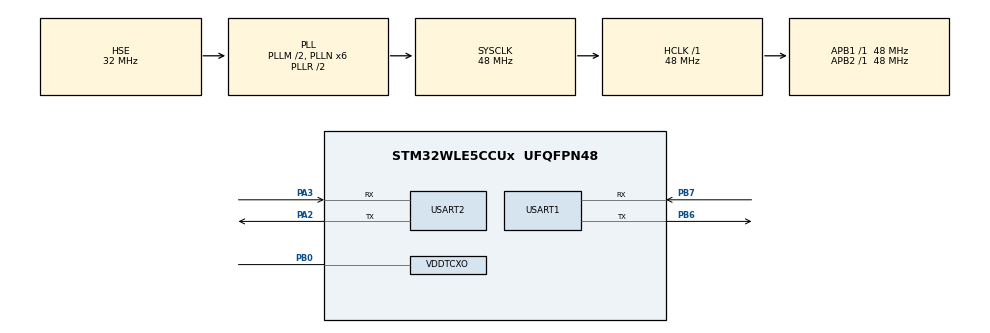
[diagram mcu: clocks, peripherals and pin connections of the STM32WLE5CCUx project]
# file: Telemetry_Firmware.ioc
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Dma.Request0=USART1_RX
Dma.Request1=USART1_TX
Dma.USART1_RX.0.Direction=DMA_PERIPH_TO_MEMORY
Dma.USART1_RX.0.EventEnable=DISABLE
Dma.USART1_RX.0.Instance=DMA1_Channel1
Dma.USART1_RX.0.MemDataAlignment=DMA_MDATAALIGN_BYTE
Dma.USART1_RX.0.MemInc=DMA_MINC_ENABLE
Dma.USART1_RX.0.Mode=DMA_CIRCULAR
Dma.USART1_RX.0.PeriphDataAlignment=DMA_PDATAALIGN_BYTE
Dma.USART1_RX.0.PeriphInc=DMA_PINC_DISABLE
Dma.USART1_RX.0.Polarity=HAL_DMAMUX_REQ_GEN_RISING
Dma.USART1_RX.0.Priority=DMA_PRIORITY_HIGH
Dma.USART1_RX.0.RequestNumber=1
Dma.USART1_RX.0.SignalID=NONE
Dma.USART1_RX.0.SyncEnable=DISABLE
Dma.USART1_RX.0.SyncPolarity=HAL_DMAMUX_SYNC_NO_EVENT
Dma.USART1_RX.0.SyncRequestNumber=1
Dma.USART1_RX.0.SyncSignalID=NONE
Dma.USART1_TX.1.Direction=DMA_MEMORY_TO_PERIPH
Dma.USART1_TX.1.EventEnable=DISABLE
Dma.USART1_TX.1.Instance=DMA1_Channel2
Dma.USART1_TX.1.MemDataAlignment=DMA_MDATAALIGN_BYTE
Dma.USART1_TX.1.MemInc=DMA_MINC_ENABLE
Dma.USART1_TX.1.Mode=DMA_NORMAL
Dma.USART1_TX.1.PeriphDataAlignment=DMA_PDATAALIGN_BYTE
Dma.USART1_TX.1.PeriphInc=DMA_PINC_DISABLE
Dma.USART1_TX.1.Polarity=HAL_DMAMUX_REQ_GEN_RISING
Dma.USART1_TX.1.Priority=DMA_PRIORITY_HIGH
Dma.USART1_TX.1.RequestNumber=1
Dma.USART1_TX.1.SignalID=NONE
Dma.USART1_TX.1.SyncEnable=DISABLE
Dma.USART1_TX.1.SyncPolarity=HAL_DMAMUX_SYNC_NO_EVENT
Dma.USART1_TX.1.SyncRequestNumber=1
Dma.USART1_TX.1.SyncSignalID=NONE
Mcu.Family=STM32WL
Mcu.Name=STM32WLE5CCUx
Mcu.Package=UFQFPN48
NVIC.DMA1_Channel1_IRQn=true\:0\:0\:false\:false\:true\:false\:true\:true
NVIC.DMA1_Channel2_IRQn=true\:0\:0\:false\:false\:true\:false\:true\:true
NVIC.PriorityGroup=NVIC_PRIORITYGROUP_4
NVIC.SUBGHZ_Radio_IRQn=true\:0\:0\:false\:false\:true\:true\:true\:true
NVIC.USART1_IRQn=true\:0\:0\:false\:false\:true\:true\:true\:true
NVIC.USART2_IRQn=true\:0\:0\:false\:false\:true\:true\:true\:true
OSC_IN.Mode=HSE-TCXO
OSC_IN.Signal=RCC_OSC_IN
PA2.Mode=Asynchronous
PA2.Signal=USART2_TX
PA3.Mode=Asynchronous
PA3.Signal=USART2_RX
PB0-VDD_TCXO.Mode=HSE-TCXO
PB0-VDD_TCXO.Signal=VDDTCXO
PB6.Mode=Asynchronous
PB6.Signal=USART1_TX
PB7.Mode=Asynchronous
PB7.Signal=USART1_RX
PC14-OSC32_IN.Mode=LSE-External-Oscillator
PC14-OSC32_IN.Signal=RCC_OSC32_IN
PC15-OSC32_OUT.Mode=LSE-External-Oscillator
PC15-OSC32_OUT.Signal=RCC_OSC32_OUT
ProjectManager.HeapSize=0x200
ProjectManager.StackSize=0x400
ProjectManager.TargetToolchain=STM32CubeIDE
RCC.AHBFreq_Value=48000000
RCC.APB1Freq_Value=48000000
RCC.APB1TimFreq_Value=48000000
RCC.APB2Freq_Value=48000000
RCC.APB2TimFreq_Value=48000000
RCC.APB3Freq_Value=48000000
RCC.CortexFreq_Value=48000000
RCC.HCLKFreq_Value=48000000
RCC.HSE_VALUE=32000000
RCC.HSI_VALUE=16000000
RCC.I2C1CLockSelection=RCC_I2C1CLKSOURCE_HSI
RCC.I2C2CLockSelection=RCC_I2C2CLKSOURCE_HSI
RCC.LPTIM1CLockSelection=RCC_LPTIM1CLKSOURCE_HSI
RCC.LSE_VALUE=32768
RCC.MSIClockRange=RCC_MSIRANGE_10
RCC.PLLM=RCC_PLLM_DIV2
RCC.PLLN=6
RCC.PLLSourceVirtual=RCC_PLLSOURCE_HSE
RCC.RTCClockSelection=RCC_RTCCLKSOURCE_LSE
RCC.SYSCLKFreq_VALUE=48000000
RCC.SYSCLKSource=RCC_SYSCLKSOURCE_PLLCLK
RCC.VCOOutputFreq_Value=96000000
TIM1.Period=0xffff
TIM1.Prescaler=47
TIM1.TIM_MasterOutputTrigger=TIM_TRGO_UPDATE
TIM1.TIM_MasterSlaveMode=TIM_MASTERSLAVEMODE_DISABLE
TIM2.Period=0xffffffff
USART1.VirtualMode-Asynchronous=VM_ASYNC
USART2.VirtualMode-Asynchronous=VM_ASYNC
VP_SUBGHZ_VS_SUBGHZ.Mode=SUBGHZ_Activate
VP_TIM1_VS_ClockSourceINT.Mode=Internal
VP_TIM2_VS_ClockSourceITR.Mode=TriggerSource_ITR0
VP_TIM2_VS_ControllerModeClock.Mode=Clock Mode
board=custom

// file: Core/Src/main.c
/* USER CODE BEGIN Header */
/**
  ******************************************************************************
  * @file           : main.c
  * @brief          : Main program body
  ******************************************************************************
  * @attention
  *
  * Copyright (c) 2023 STMicroelectronics.
  * All rights reserved.
  *
  * This software is licensed under terms that can be found in the LICENSE file
  * in the root directory of this software component.
  * If no LICENSE file comes with this software, it is provided AS-IS.
  *
  ******************************************************************************
  */
/* USER CODE END Header */
#include "main.h"

/* USER CODE BEGIN Includes */
#include "peripherals/gpio/gpio.h"
#include "psp_timer.h"
#include "board.h"
#include "radio_driver.h"
#include "subghz_phy_app.h"
#include "telemetry_program.h"
#include <errno.h>
#include <sys/unistd.h>
/* USER CODE END Includes */

SUBGHZ_HandleTypeDef hsubghz;

TIM_HandleTypeDef htim1;
TIM_HandleTypeDef htim2;

UART_HandleTypeDef huart1;
UART_HandleTypeDef huart2;
DMA_HandleTypeDef hdma_usart1_rx;
DMA_HandleTypeDef hdma_usart1_tx;

void SystemClock_Config(void);
static void MX_GPIO_Init(void);
/* USER CODE BEGIN PFP */
#define PUTCHAR_PROTOTYPE int __io_putchar(int ch)
/* USER CODE END PFP */

int main(void)
{

  /* MCU Configuration--------------------------------------------------------*/

  /* Reset of all peripherals, Initializes the Flash interface and the Systick. */
  HAL_Init();

  /* Configure the system clock */
  SystemClock_Config();

  /* USER CODE BEGIN SysInit */
  //SUBGRF_SetTcxoMode(TCXO_CTRL_3_3V, 100);
  SubghzApp_Init();
  HAL_Delay(100);
  /* USER CODE END SysInit */

  /* Initialize all configured peripherals */
  MX_GPIO_Init();
  MX_DMA_Init();
  MX_TIM1_Init();
  MX_TIM2_Init();
  MX_USART2_UART_Init();
  MX_USART1_UART_Init();
  /* USER CODE BEGIN 2 */
  init_timers();
  gpio_write(PIN_PA0, GPIO_HIGH);
  DELAY(500);
  gpio_write(PIN_PA0, GPIO_LOW);
  DELAY(500);
  telemetry_program();
  /* USER CODE END 2 */

  /* Infinite loop */
  while (1)
  {

    /* USER CODE BEGIN 3 */
  }
  return 0;
  /* USER CODE END 3 */
}

void SystemClock_Config(void)
{
  RCC_OscInitTypeDef RCC_OscInitStruct = {0};
  RCC_ClkInitTypeDef RCC_ClkInitStruct = {0};

  /** Configure the main internal regulator output voltage
  */
  __HAL_PWR_VOLTAGESCALING_CONFIG(PWR_REGULATOR_VOLTAGE_SCALE1);

  /** Initializes the CPU, AHB and APB buses clocks
  */
  RCC_OscInitStruct.OscillatorType = RCC_OSCILLATORTYPE_HSE;
  RCC_OscInitStruct.HSEState = RCC_HSE_BYPASS_PWR;
  RCC_OscInitStruct.HSEDiv = RCC_HSE_DIV1;
  RCC_OscInitStruct.PLL.PLLState = RCC_PLL_ON;
  RCC_OscInitStruct.PLL.PLLSource = RCC_PLLSOURCE_HSE;
  RCC_OscInitStruct.PLL.PLLM = RCC_PLLM_DIV2;
  RCC_OscInitStruct.PLL.PLLN = 6;
  RCC_OscInitStruct.PLL.PLLP = RCC_PLLP_DIV2;
  RCC_OscInitStruct.PLL.PLLR = RCC_PLLR_DIV2;
  RCC_OscInitStruct.PLL.PLLQ = RCC_PLLQ_DIV2;
  if (HAL_RCC_OscConfig(&RCC_OscInitStruct) != HAL_OK)
  {
    Error_Handler();
  }

  /** Configure the SYSCLKSource, HCLK, PCLK1 and PCLK2 clocks dividers
  */
  RCC_ClkInitStruct.ClockType = RCC_CLOCKTYPE_HCLK3|RCC_CLOCKTYPE_HCLK
                              |RCC_CLOCKTYPE_SYSCLK|RCC_CLOCKTYPE_PCLK1
                              |RCC_CLOCKTYPE_PCLK2;
  RCC_ClkInitStruct.SYSCLKSource = RCC_SYSCLKSOURCE_PLLCLK;
  RCC_ClkInitStruct.AHBCLKDivider = RCC_SYSCLK_DIV1;
  RCC_ClkInitStruct.APB1CLKDivider = RCC_HCLK_DIV1;
  RCC_ClkInitStruct.APB2CLKDivider = RCC_HCLK_DIV1;
  RCC_ClkInitStruct.AHBCLK3Divider = RCC_SYSCLK_DIV1;

  if (HAL_RCC_ClockConfig(&RCC_ClkInitStruct, FLASH_LATENCY_2) != HAL_OK)
  {
    Error_Handler();
  }
}

void MX_SUBGHZ_Init(void)
{

  hsubghz.Init.BaudratePrescaler = SUBGHZSPI_BAUDRATEPRESCALER_8;
  if (HAL_SUBGHZ_Init(&hsubghz) != HAL_OK)
  {
    Error_Handler();
  }

}

void MX_TIM1_Init(void)
{

  TIM_ClockConfigTypeDef sClockSourceConfig = {0};
  TIM_MasterConfigTypeDef sMasterConfig = {0};

  htim1.Instance = TIM1;
  htim1.Init.Prescaler = 47;
  htim1.Init.CounterMode = TIM_COUNTERMODE_UP;
  htim1.Init.Period = 0xffff;
  htim1.Init.ClockDivision = TIM_CLOCKDIVISION_DIV1;
  htim1.Init.RepetitionCounter = 0;
  htim1.Init.AutoReloadPreload = TIM_AUTORELOAD_PRELOAD_DISABLE;
  if (HAL_TIM_Base_Init(&htim1) != HAL_OK)
  {
    Error_Handler();
  }
  sClockSourceConfig.ClockSource = TIM_CLOCKSOURCE_INTERNAL;
  if (HAL_TIM_ConfigClockSource(&htim1, &sClockSourceConfig) != HAL_OK)
  {
    Error_Handler();
  }
  sMasterConfig.MasterOutputTrigger = TIM_TRGO_UPDATE;
  sMasterConfig.MasterOutputTrigger2 = TIM_TRGO2_RESET;
  sMasterConfig.MasterSlaveMode = TIM_MASTERSLAVEMODE_DISABLE;
  if (HAL_TIMEx_MasterConfigSynchronization(&htim1, &sMasterConfig) != HAL_OK)
  {
    Error_Handler();
  }

}

void MX_TIM2_Init(void)
{

  TIM_SlaveConfigTypeDef sSlaveConfig = {0};
  TIM_MasterConfigTypeDef sMasterConfig = {0};

  htim2.Instance = TIM2;
  htim2.Init.Prescaler = 0;
  htim2.Init.CounterMode = TIM_COUNTERMODE_UP;
  htim2.Init.Period = 0xffffffff;
  htim2.Init.ClockDivision = TIM_CLOCKDIVISION_DIV1;
  htim2.Init.AutoReloadPreload = TIM_AUTORELOAD_PRELOAD_DISABLE;
  if (HAL_TIM_Base_Init(&htim2) != HAL_OK)
  {
    Error_Handler();
  }
  sSlaveConfig.SlaveMode = TIM_SLAVEMODE_EXTERNAL1;
  sSlaveConfig.InputTrigger = TIM_TS_ITR0;
  if (HAL_TIM_SlaveConfigSynchro(&htim2, &sSlaveConfig) != HAL_OK)
  {
    Error_Handler();
  }
  sMasterConfig.MasterOutputTrigger = TIM_TRGO_RESET;
  sMasterConfig.MasterSlaveMode = TIM_MASTERSLAVEMODE_DISABLE;
  if (HAL_TIMEx_MasterConfigSynchronization(&htim2, &sMasterConfig) != HAL_OK)
  {
    Error_Handler();
  }

}

void MX_USART1_UART_Init(void)
{

  huart1.Instance = USART1;
  huart1.Init.BaudRate = 115200;
  huart1.Init.WordLength = UART_WORDLENGTH_8B;
  huart1.Init.StopBits = UART_STOPBITS_1;
  huart1.Init.Parity = UART_PARITY_NONE;
  huart1.Init.Mode = UART_MODE_TX_RX;
  huart1.Init.HwFlowCtl = UART_HWCONTROL_NONE;
  huart1.Init.OverSampling = UART_OVERSAMPLING_16;
  huart1.Init.OneBitSampling = UART_ONE_BIT_SAMPLE_DISABLE;
  huart1.Init.ClockPrescaler = UART_PRESCALER_DIV1;
  huart1.AdvancedInit.AdvFeatureInit = UART_ADVFEATURE_NO_INIT;
  if (HAL_UART_Init(&huart1) != HAL_OK)
  {
    Error_Handler();
  }
  if (HAL_UARTEx_SetTxFifoThreshold(&huart1, UART_TXFIFO_THRESHOLD_1_8) != HAL_OK)
  {
    Error_Handler();
  }
  if (HAL_UARTEx_SetRxFifoThreshold(&huart1, UART_RXFIFO_THRESHOLD_1_8) != HAL_OK)
  {
    Error_Handler();
  }
  if (HAL_UARTEx_DisableFifoMode(&huart1) != HAL_OK)
  {
    Error_Handler();
  }

}

void MX_USART2_UART_Init(void)
{

  huart2.Instance = USART2;
  huart2.Init.BaudRate = 115200;
  huart2.Init.WordLength = UART_WORDLENGTH_8B;
  huart2.Init.StopBits = UART_STOPBITS_1;
  huart2.Init.Parity = UART_PARITY_NONE;
  huart2.Init.Mode = UART_MODE_TX_RX;
  huart2.Init.HwFlowCtl = UART_HWCONTROL_NONE;
  huart2.Init.OverSampling = UART_OVERSAMPLING_16;
  huart2.Init.OneBitSampling = UART_ONE_BIT_SAMPLE_DISABLE;
  huart2.Init.ClockPrescaler = UART_PRESCALER_DIV1;
  huart2.AdvancedInit.AdvFeatureInit = UART_ADVFEATURE_NO_INIT;
  if (HAL_UART_Init(&huart2) != HAL_OK)
  {
    Error_Handler();
  }
  if (HAL_UARTEx_SetTxFifoThreshold(&huart2, UART_TXFIFO_THRESHOLD_1_8) != HAL_OK)
  {
    Error_Handler();
  }
  if (HAL_UARTEx_SetRxFifoThreshold(&huart2, UART_RXFIFO_THRESHOLD_1_8) != HAL_OK)
  {
    Error_Handler();
  }
  if (HAL_UARTEx_DisableFifoMode(&huart2) != HAL_OK)
  {
    Error_Handler();
  }

}

void MX_DMA_Init(void)
{

  /* DMA controller clock enable */
  __HAL_RCC_DMAMUX1_CLK_ENABLE();
  __HAL_RCC_DMA1_CLK_ENABLE();

  /* DMA interrupt init */
  /* DMA1_Channel1_IRQn interrupt configuration */
  HAL_NVIC_SetPriority(DMA1_Channel1_IRQn, 0, 0);
  HAL_NVIC_EnableIRQ(DMA1_Channel1_IRQn);
  /* DMA1_Channel2_IRQn interrupt configuration */
  HAL_NVIC_SetPriority(DMA1_Channel2_IRQn, 0, 0);
  HAL_NVIC_EnableIRQ(DMA1_Channel2_IRQn);

}

static void MX_GPIO_Init(void)
{

  /* GPIO Ports Clock Enable */
  __HAL_RCC_GPIOB_CLK_ENABLE();
  __HAL_RCC_GPIOA_CLK_ENABLE();
  __HAL_RCC_GPIOC_CLK_ENABLE();

}

/* USER CODE BEGIN 4 */
/**
  * @brief  Retargets the C library printf function to the USART.
  * @param  None
  * @retval None
  */
PUTCHAR_PROTOTYPE
{
  /* Place your implementation of fputc here */
  /* e.g. write a character to the USART1 and Loop until the end of transmission */
  HAL_UART_Transmit(&huart2, (uint8_t *)&ch, 1, 10);

  return ch;
}
/* USER CODE END 4 */

void Error_Handler(void)
{
  /* USER CODE BEGIN Error_Handler_Debug */
  /* User can add his own implementation to report the HAL error return state */
  NVIC_SystemReset();
  /* USER CODE END Error_Handler_Debug */
}
